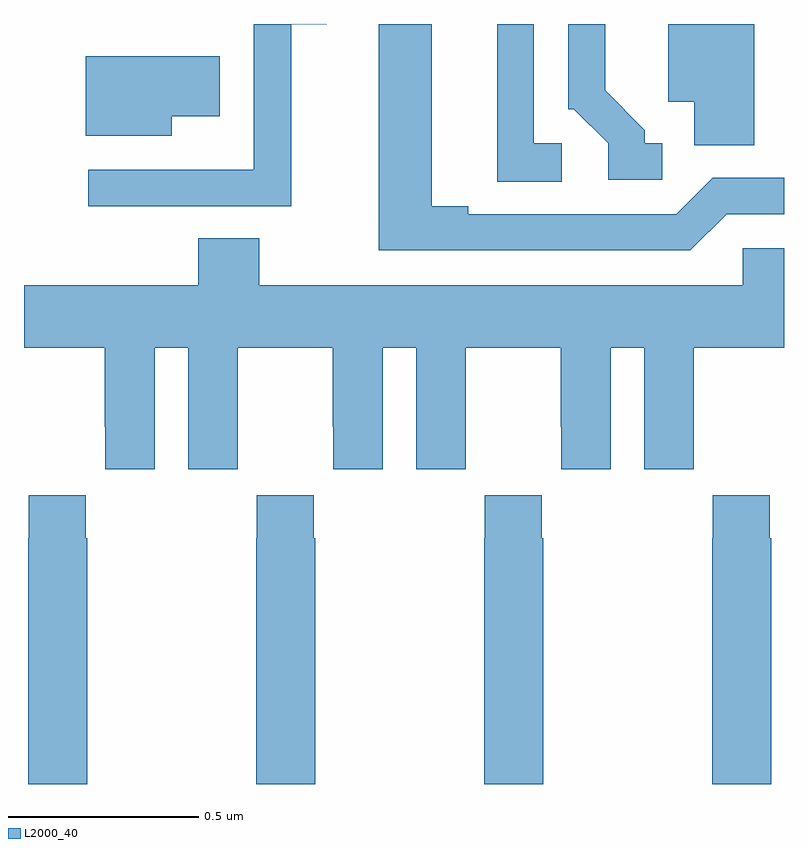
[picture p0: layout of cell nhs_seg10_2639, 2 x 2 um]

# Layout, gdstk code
import gdstk
lib = gdstk.Library(unit=1e-6, precision=1e-09)
def P(c, l, *ps):  # polygons
    for p in ps: c.add(gdstk.Polygon(p, *l))
L2000_40 = (2000, 40)

nhs_seg10_2639 = lib.new_cell('nhs_seg10_2639')
P(nhs_seg10_2639, L2000_40, [(144.415,1302.186),(144.342,1302.186),(144.342,1302.5),(144.245,1302.5),(144.245,1302.085),(144.415,1302.085)],
  [(144.849,1302),(145,1302),(145,1302.096),(144.813,1302.096),(144.717,1302),(144.169,1302),(144.169,1302.02),(144.073,1302.02),(144.073,1302.5),(143.933,1302.5),(143.933,1301.904),(144.753,1301.904)],
  [(144.679,1302.186),(144.634,1302.186),(144.634,1302.221),(144.529,1302.326),(144.529,1302.5),(144.432,1302.5),(144.432,1302.276),(144.447,1302.276),(144.537,1302.186),(144.537,1302.09),(144.679,1302.09)],
  [(144.922,1302.5),(144.695,1302.5),(144.695,1302.296),(144.764,1302.296),(144.764,1302.181),(144.922,1302.181)],
  [(143.703,1302.499),(143.797,1302.499),(143.797,1302.5),(143.604,1302.5),(143.604,1302.118),(143.603,1302.118),(143.603,1302.117),(143.169,1302.117),(143.169,1302.021),(143.703,1302.021)],
  [(143.389,1302.257),(143.515,1302.257),(143.515,1302.415),(143.162,1302.415),(143.162,1302.206),(143.389,1302.206)],
  [(143.619,1301.936),(143.459,1301.936),(143.459,1301.812),(143,1301.812),(143,1301.648),(143.213,1301.648),(143.213,1301.44),(143.214,1301.44),(143.214,1301.328),(143.344,1301.328),(143.344,1301.648),(143.432,1301.648),(143.432,1301.328),(143.562,1301.328),(143.562,1301.44),(143.563,1301.44),(143.563,1301.648),(143.813,1301.648),(143.813,1301.44),(143.814,1301.44),(143.814,1301.328),(143.944,1301.328),(143.944,1301.648),(144.032,1301.648),(144.032,1301.328),(144.162,1301.328),(144.162,1301.44),(144.163,1301.44),(144.163,1301.648),(144.413,1301.648),(144.413,1301.44),(144.414,1301.44),(144.414,1301.328),(144.544,1301.328),(144.544,1301.648),(144.632,1301.648),(144.632,1301.328),(144.762,1301.328),(144.762,1301.44),(144.763,1301.44),(144.763,1301.648),(145,1301.648),(145,1301.91),(144.891,1301.91),(144.891,1301.812),(143.619,1301.812)],
  [(144.966,1301.147),(144.963,1301.147),(144.963,1301.26),(144.813,1301.26),(144.813,1301.147),(144.811,1301.147),(144.811,1300.5),(144.966,1300.5)],
  [(144.366,1301.147),(144.363,1301.147),(144.363,1301.26),(144.213,1301.26),(144.213,1301.147),(144.211,1301.147),(144.211,1300.5),(144.366,1300.5)],
  [(143.766,1301.147),(143.763,1301.147),(143.763,1301.26),(143.613,1301.26),(143.613,1301.147),(143.611,1301.147),(143.611,1300.5),(143.766,1300.5)],
  [(143.166,1301.147),(143.163,1301.147),(143.163,1301.26),(143.013,1301.26),(143.013,1301.147),(143.011,1301.147),(143.011,1300.5),(143.166,1300.5)])

lib.write_gds('nhs_seg10_2639.gds')
